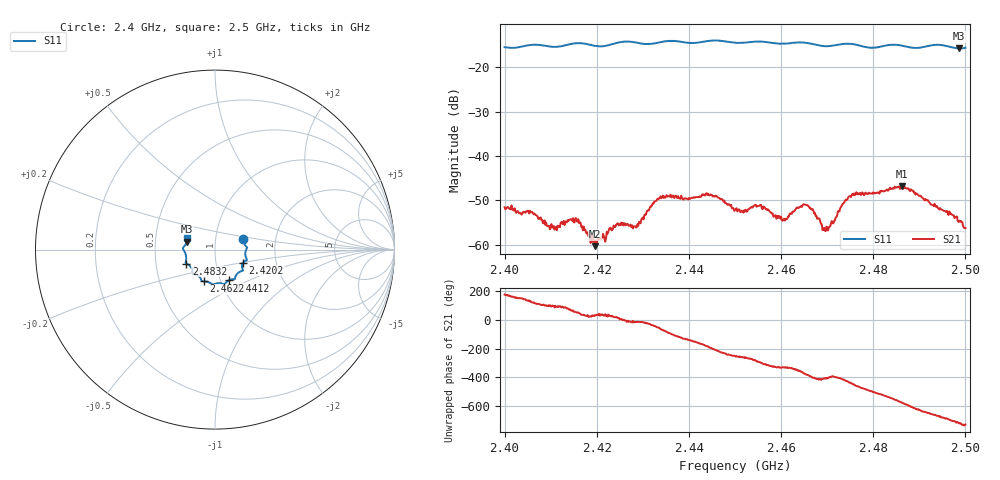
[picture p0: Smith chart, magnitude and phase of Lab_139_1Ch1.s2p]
# Hz S RI R 50
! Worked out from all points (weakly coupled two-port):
!   601 points, 2.4 GHz to 2.5 GHz, reference 50 ohm
!   highest |S21| = -46.77 dB at 2.4862 GHz (marker M1); lowest = -60.4 dB at 2.4197 GHz (marker M2)
!   lowest |S11| = -15.8 dB at 2.4987 GHz (marker M3), VSWR 1.39, Z = 36.3 + j3.31 ohm
!   |S11| at or under -10 dB: start of sweep to end of sweep
!   S12 and S22 are empty: the file has one direction only
!   S11 on the Smith chart (normalised r, x): 2.4 GHz: 1.36, +0.17; 2.4202 GHz: 1.35, -0.20; 2.4412 GHz: 1.09, -0.39; 2.4622 GHz: 0.83, -0.30; 2.4832 GHz: 0.72, -0.12; 2.5 GHz: 0.73, +0.09
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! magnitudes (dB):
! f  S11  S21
! 2.4 GHz  -15.5  -51.6
! 2.4108 GHz  -15.4  -56.6
! 2.4143 GHz  -14.8  -54.3
! 2.4167 GHz  -14.6  -56.0
! 2.4197 GHz  -15.2  -60.4
! 2.4202 GHz  -15.3  -58.9
! 2.4242 GHz  -14.6  -55.5
! 2.4285 GHz  -14.4  -56.1
! 2.4333 GHz  -14.5  -49.8
! 2.4412 GHz  -14.5  -49.4
! 2.4455 GHz  -14.0  -49.1
! 2.45 GHz  -14.5  -52.2
! 2.4607 GHz  -14.7  -54.2
! 2.4622 GHz  -14.5  -53.0
! 2.4667 GHz  -14.7  -52.1
! 2.4697 GHz  -15.3  -57.0
! 2.475 GHz  -14.7  -49.1
! 2.4832 GHz  -15.0  -47.9
! 2.4833 GHz  -15.0  -47.7
! 2.4862 GHz  -15.1  -46.8
! 2.4987 GHz  -15.8  -54.6
! 2.5 GHz  -15.6  -56.3
